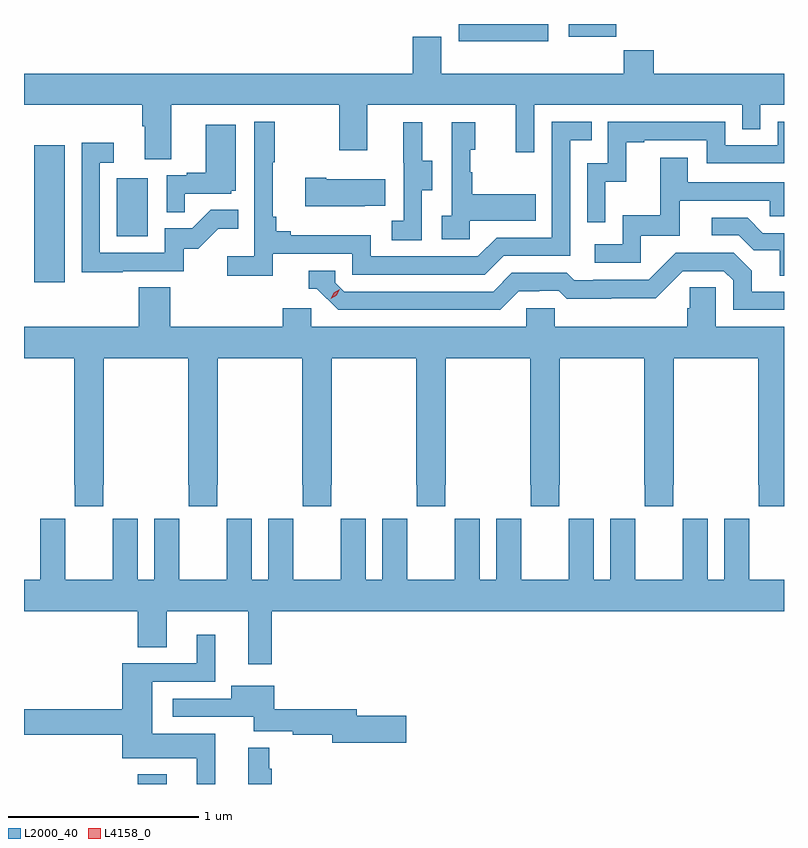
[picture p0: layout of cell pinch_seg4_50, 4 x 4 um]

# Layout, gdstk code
import gdstk
lib = gdstk.Library(unit=1e-6, precision=1e-09)
def R(c, l, rs):  # rectangles x0, y0, x1, y1
    for r in rs: c.add(gdstk.rectangle(r[:2], r[2:], *l))
def P(c, l, *ps):  # polygons
    for p in ps: c.add(gdstk.Polygon(p, *l))
L2000_40 = (2000, 40)
L4158_0 = (4158, 0)

pinch_seg4_50 = lib.new_cell('pinch_seg4_50')
R(pinch_seg4_50, L2000_40, [(1019.021,815.89,1019.173,815.941), (1018.475,818.532,1018.636,819.253), (1018.91,818.772,1019.074,819.079), (1020.71,819.8,1021.18,819.89), (1021.289,819.822,1021.538,819.89)])
P(pinch_seg4_50, L2000_40, [(1019.197,819.464),(1020.082,819.464),(1020.082,819.225),(1020.229,819.225),(1020.229,819.464),(1021.01,819.464),(1021.01,819.216),(1021.107,819.216),(1021.107,819.464),(1022.202,819.464),(1022.202,819.337),(1022.298,819.337),(1022.298,819.464),(1022.422,819.464),(1022.422,819.628),(1021.736,819.628),(1021.736,819.752),(1021.579,819.752),(1021.579,819.628),(1020.619,819.628),(1020.619,819.823),(1020.467,819.823),(1020.467,819.628),(1018.422,819.628),(1018.422,819.464),(1019.045,819.464),(1019.045,819.352),(1019.057,819.352),(1019.057,819.178),(1019.197,819.178)],
  [(1019.732,818.682),(1020.15,818.682),(1020.15,818.571),(1020.847,818.571),(1020.946,818.67),(1021.296,818.67),(1021.296,819.279),(1021.409,819.279),(1021.409,819.375),(1021.2,819.375),(1021.2,818.766),(1020.909,818.766),(1020.81,818.667),(1020.246,818.667),(1020.246,818.779),(1019.827,818.779),(1019.827,818.798),(1019.75,818.798),(1019.75,818.875),(1019.731,818.875),(1019.731,819.163),(1019.743,819.163),(1019.743,819.376),(1019.634,819.376),(1019.634,818.668),(1019.493,818.668),(1019.493,818.566),(1019.732,818.566)],
  [(1021.482,819.059),(1021.592,819.059),(1021.592,819.267),(1021.687,819.267),(1021.687,819.279),(1022.016,819.279),(1022.016,819.156),(1022.422,819.156),(1022.422,819.375),(1022.388,819.375),(1022.388,819.252),(1022.112,819.252),(1022.112,819.375),(1021.494,819.375),(1021.494,819.156),(1021.386,819.156),(1021.386,818.847),(1021.482,818.847)],
  [(1020.516,819.016),(1020.571,819.016),(1020.571,819.171),(1020.517,819.171),(1020.517,819.373),(1020.419,819.373),(1020.419,819.159),(1020.42,819.159),(1020.42,818.855),(1020.357,818.855),(1020.357,818.752),(1020.516,818.752)],
  [(1020.768,818.855),(1021.115,818.855),(1021.115,818.995),(1020.781,818.995),(1020.781,819.11),(1020.771,819.11),(1020.771,819.228),(1020.796,819.228),(1020.796,819.373),(1020.672,819.373),(1020.672,818.882),(1020.621,818.882),(1020.621,818.757),(1020.768,818.757)],
  [(1019.267,818.997),(1019.514,818.997),(1019.514,819.012),(1019.536,819.012),(1019.536,819.361),(1019.378,819.361),(1019.378,819.106),(1019.279,819.106),(1019.279,819.093),(1019.172,819.093),(1019.172,818.899),(1019.267,818.899)],
  [(1018.943,818.589),(1019.262,818.589),(1019.262,818.706),(1019.338,818.706),(1019.445,818.813),(1019.549,818.813),(1019.549,818.912),(1019.405,818.912),(1019.307,818.814),(1019.163,818.814),(1019.163,818.685),(1018.821,818.685),(1018.821,819.159),(1018.894,819.159),(1018.894,819.265),(1018.725,819.265),(1018.725,818.584),(1018.943,818.584)],
  [(1021.668,818.775),(1021.873,818.775),(1021.873,818.961),(1022.347,818.961),(1022.347,818.877),(1022.422,818.877),(1022.422,819.057),(1021.915,819.057),(1021.915,819.187),(1021.771,819.187),(1021.771,818.884),(1021.572,818.884),(1021.572,818.73),(1021.425,818.73),(1021.425,818.634),(1021.668,818.634)],
  [(1020.215,818.933),(1020.323,818.933),(1020.323,819.073),(1020.013,819.073),(1020.013,819.081),(1019.901,819.081),(1019.901,818.93),(1020.215,818.93)],
  [(1022.422,818.79),(1022.311,818.79),(1022.23,818.871),(1022.043,818.871),(1022.043,818.778),(1022.184,818.778),(1022.264,818.698),(1022.399,818.698),(1022.399,818.566),(1022.422,818.566)],
  [(1021.027,818.484),(1021.134,818.484),(1021.134,818.487),(1021.237,818.487),(1021.279,818.445),(1021.512,818.445),(1021.512,818.447),(1021.748,818.447),(1021.89,818.589),(1022.106,818.589),(1022.154,818.541),(1022.154,818.385),(1022.422,818.385),(1022.422,818.481),(1022.251,818.481),(1022.251,818.591),(1022.157,818.685),(1021.851,818.685),(1021.71,818.544),(1021.417,818.544),(1021.417,818.541),(1021.318,818.541),(1021.279,818.58),(1020.99,818.58),(1020.891,818.481),(1020.108,818.481),(1020.06,818.529),(1020.06,818.592),(1019.921,818.592),(1019.921,818.496),(1019.964,818.496),(1020.075,818.385),(1020.928,818.385)],
  [(1018.839,817.465),(1018.842,817.465),(1018.842,818.132),(1019.287,818.132),(1019.287,817.465),(1019.289,817.465),(1019.289,817.353),(1019.439,817.353),(1019.439,817.465),(1019.442,817.465),(1019.442,818.132),(1019.887,818.132),(1019.887,817.465),(1019.889,817.465),(1019.889,817.353),(1020.039,817.353),(1020.039,817.465),(1020.042,817.465),(1020.042,818.132),(1020.487,818.132),(1020.487,817.465),(1020.489,817.465),(1020.489,817.353),(1020.639,817.353),(1020.639,817.465),(1020.642,817.465),(1020.642,818.132),(1021.087,818.132),(1021.087,817.465),(1021.089,817.465),(1021.089,817.353),(1021.239,817.353),(1021.239,817.465),(1021.242,817.465),(1021.242,818.132),(1021.687,818.132),(1021.687,817.465),(1021.689,817.465),(1021.689,817.353),(1021.839,817.353),(1021.839,817.465),(1021.842,817.465),(1021.842,818.132),(1022.287,818.132),(1022.287,817.465),(1022.289,817.465),(1022.289,817.353),(1022.422,817.353),(1022.422,818.296),(1022.064,818.296),(1022.064,818.504),(1021.927,818.504),(1021.927,818.394),(1021.913,818.394),(1021.913,818.296),(1021.215,818.296),(1021.215,818.394),(1021.065,818.394),(1021.065,818.296),(1019.934,818.296),(1019.934,818.394),(1019.783,818.394),(1019.783,818.296),(1019.192,818.296),(1019.192,818.504),(1019.027,818.504),(1019.027,818.296),(1018.422,818.296),(1018.422,818.132),(1018.687,818.132),(1018.687,817.465),(1018.689,817.465),(1018.689,817.353),(1018.839,817.353)],
  [(1019.725,816.8),(1022.422,816.8),(1022.422,816.964),(1022.239,816.964),(1022.239,817.172),(1022.238,817.172),(1022.238,817.285),(1022.108,817.285),(1022.108,816.964),(1022.02,816.964),(1022.02,817.285),(1021.89,817.285),(1021.89,817.172),(1021.889,817.172),(1021.889,816.964),(1021.639,816.964),(1021.639,817.172),(1021.638,817.172),(1021.638,817.285),(1021.508,817.285),(1021.508,816.964),(1021.42,816.964),(1021.42,817.285),(1021.29,817.285),(1021.29,817.172),(1021.289,817.172),(1021.289,816.964),(1021.039,816.964),(1021.039,817.172),(1021.038,817.172),(1021.038,817.285),(1020.908,817.285),(1020.908,816.964),(1020.82,816.964),(1020.82,817.285),(1020.69,817.285),(1020.69,817.172),(1020.689,817.172),(1020.689,816.964),(1020.439,816.964),(1020.439,817.172),(1020.438,817.172),(1020.438,817.285),(1020.308,817.285),(1020.308,816.964),(1020.22,816.964),(1020.22,817.285),(1020.09,817.285),(1020.09,817.172),(1020.089,817.172),(1020.089,816.964),(1019.839,816.964),(1019.839,817.172),(1019.838,817.172),(1019.838,817.285),(1019.708,817.285),(1019.708,816.964),(1019.62,816.964),(1019.62,817.285),(1019.49,817.285),(1019.49,817.172),(1019.489,817.172),(1019.489,816.964),(1019.239,816.964),(1019.239,817.172),(1019.238,817.172),(1019.238,817.285),(1019.108,817.285),(1019.108,816.964),(1019.02,816.964),(1019.02,817.285),(1018.89,817.285),(1018.89,817.172),(1018.889,817.172),(1018.889,816.964),(1018.639,816.964),(1018.639,817.172),(1018.638,817.172),(1018.638,817.285),(1018.508,817.285),(1018.508,816.964),(1018.422,816.964),(1018.422,816.8),(1019.021,816.8),(1019.021,816.61),(1019.173,816.61),(1019.173,816.8),(1019.603,816.8),(1019.603,816.519),(1019.725,816.519)],
  [(1019.428,816.154),(1019.098,816.154),(1019.098,816.429),(1019.428,816.429),(1019.428,816.676),(1019.33,816.676),(1019.33,816.525),(1018.94,816.525),(1018.94,816.284),(1018.422,816.284),(1018.422,816.148),(1018.94,816.148),(1018.94,816.026),(1019.33,816.026),(1019.33,815.89),(1019.428,815.89)],
  [(1020.433,816.248),(1020.172,816.248),(1020.172,816.284),(1019.74,816.284),(1019.74,816.406),(1019.513,816.406),(1019.513,816.339),(1019.205,816.339),(1019.205,816.243),(1019.63,816.243),(1019.63,816.168),(1019.836,816.168),(1019.836,816.148),(1020.044,816.148),(1020.044,816.106),(1020.433,816.106)],
  [(1019.725,815.969),(1019.714,815.969),(1019.714,816.082),(1019.603,816.082),(1019.603,815.89),(1019.725,815.89)])
P(pinch_seg4_50, L4158_0, [(1020.036,818.444),(1020.036,818.444),(1020.052,818.476),(1020.083,818.495),(1020.083,818.495),(1020.083,818.495),(1020.067,818.463),(1020.036,818.444)])

lib.write_gds('pinch_seg4_50.gds')
